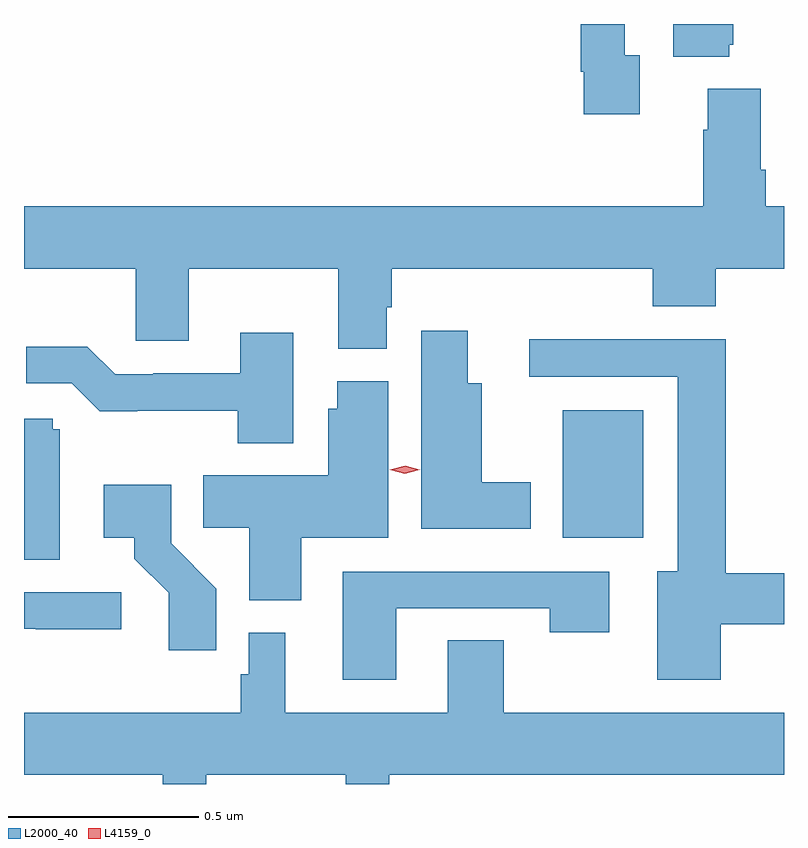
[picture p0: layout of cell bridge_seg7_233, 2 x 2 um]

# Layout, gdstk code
import gdstk
lib = gdstk.Library(unit=1e-6, precision=1e-09)
def R(c, l, rs):  # rectangles x0, y0, x1, y1
    for r in rs: c.add(gdstk.rectangle(r[:2], r[2:], *l))
def P(c, l, *ps):  # polygons
    for p in ps: c.add(gdstk.Polygon(p, *l))
L2000_40 = (2000, 40)
L4159_0 = (4159, 0)

bridge_seg7_233 = lib.new_cell('bridge_seg7_233')
R(bridge_seg7_233, L2000_40, [(334.898,1001.24,335.11,1001.575)])
P(bridge_seg7_233, L2000_40, [(335.101,1002.51),(335.061,1002.51),(335.061,1002.592),(334.945,1002.592),(334.945,1002.466),(334.953,1002.466),(334.953,1002.354),(335.101,1002.354)],
  [(335.336,1002.537),(335.347,1002.537),(335.347,1002.592),(335.189,1002.592),(335.189,1002.506),(335.336,1002.506)],
  [(335.3,1001.948),(335.48,1001.948),(335.48,1002.112),(335.432,1002.112),(335.432,1002.208),(335.419,1002.208),(335.419,1002.421),(335.279,1002.421),(335.279,1002.314),(335.267,1002.314),(335.267,1002.112),(333.48,1002.112),(333.48,1001.948),(333.774,1001.948),(333.774,1001.758),(333.913,1001.758),(333.913,1001.948),(334.307,1001.948),(334.307,1001.737),(334.435,1001.737),(334.435,1001.847),(334.448,1001.847),(334.448,1001.948),(335.135,1001.948),(335.135,1001.849),(335.3,1001.849)],
  [(334.813,1001.386),(334.684,1001.386),(334.684,1001.647),(334.648,1001.647),(334.648,1001.785),(334.526,1001.785),(334.526,1001.264),(334.813,1001.264)],
  [(334.189,1001.779),(334.049,1001.779),(334.049,1001.673),(333.82,1001.673),(333.82,1001.67),(333.72,1001.67),(333.647,1001.743),(333.486,1001.743),(333.486,1001.646),(333.606,1001.646),(333.679,1001.573),(333.778,1001.573),(333.778,1001.574),(334.042,1001.574),(334.042,1001.489),(334.189,1001.489)],
  [(335.314,1001.012),(335.48,1001.012),(335.48,1001.147),(335.327,1001.147),(335.327,1001.762),(334.809,1001.762),(334.809,1001.664),(335.201,1001.664),(335.201,1001.152),(335.147,1001.152),(335.147,1000.866),(335.314,1000.866)],
  [(334.21,1001.24),(334.438,1001.24),(334.438,1001.652),(334.304,1001.652),(334.304,1001.58),(334.28,1001.58),(334.28,1001.404),(333.952,1001.404),(333.952,1001.266),(334.073,1001.266),(334.073,1001.075),(334.21,1001.075)],
  [(333.574,1001.526),(333.555,1001.526),(333.555,1001.553),(333.48,1001.553),(333.48,1001.182),(333.574,1001.182)],
  [(333.986,1001.106),(333.867,1001.225),(333.867,1001.38),(333.69,1001.38),(333.69,1001.24),(333.77,1001.24),(333.77,1001.185),(333.861,1001.095),(333.861,1000.944),(333.986,1000.944)],
  [(334.459,1001.055),(334.864,1001.055),(334.864,1000.992),(335.02,1000.992),(335.02,1001.151),(334.319,1001.151),(334.319,1000.866),(334.459,1000.866)],
  [(333.736,1001.097),(333.48,1001.097),(333.48,1001.001),(333.511,1001.001),(333.511,1000.999),(333.736,1000.999)],
  [(333.959,1000.616),(334.327,1000.616),(334.327,1000.592),(334.441,1000.592),(334.441,1000.616),(335.48,1000.616),(335.48,1000.78),(334.743,1000.78),(334.743,1000.97),(334.595,1000.97),(334.595,1000.78),(334.168,1000.78),(334.168,1000.99),(334.071,1000.99),(334.071,1000.881),(334.051,1000.881),(334.051,1000.78),(333.48,1000.78),(333.48,1000.616),(333.845,1000.616),(333.845,1000.592),(333.959,1000.592)])
P(bridge_seg7_233, L4159_0, [(334.482,1001.409),(334.443,1001.419),(334.443,1001.419),(334.443,1001.419),(334.483,1001.429),(334.522,1001.419),(334.522,1001.419),(334.522,1001.419)])

lib.write_gds('bridge_seg7_233.gds')
